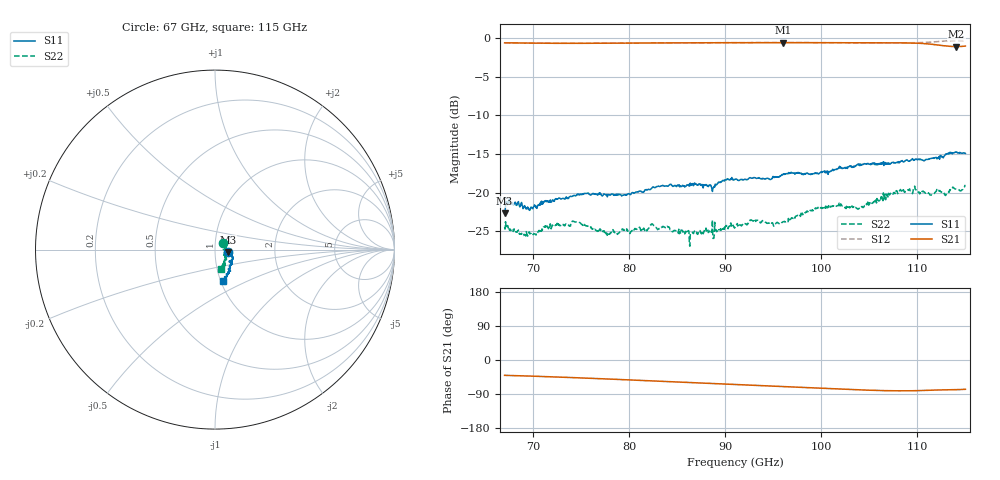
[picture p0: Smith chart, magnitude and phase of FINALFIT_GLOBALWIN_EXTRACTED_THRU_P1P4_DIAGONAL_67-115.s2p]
! Generated by Phase I extraction
# Hz S RI R 50
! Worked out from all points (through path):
!   1001 points, 67 GHz to 115 GHz, reference 50 ohm
!   highest |S21| = -0.59 dB at 96.04 GHz (marker M1); lowest = -1.1 dB at 114 GHz (marker M2)
!   group delay of S21, straight-line fit = 2.64 ps
!   lowest |S11| = -22.7 dB at 67 GHz (marker M3), VSWR 1.16, Z = 57.8 - j1.52 ohm
!   |S11| at or under -10 dB: start of sweep to end of sweep
!   |S22| runs from -26.9 to -19.1 dB; largest |S21 - S12| = 0.47
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6.7e10  0.0723 -0.013  0.7087 -0.6051  0.7102 -0.6022  0.045 0.0393
6.7384e10  0.0873 -0.0018  0.7056 -0.6077  0.7085 -0.6033  0.0402 0.0432
6.8968e10  0.079 -0.00911  0.6917 -0.6199  0.7026 -0.6068  0.0387 0.036
6.9688e10  0.0783 -0.00199  0.6847 -0.6262  0.7005 -0.6079  0.0411 0.0359
7.2328e10  0.0909 -0.00983  0.6569 -0.652  0.6941 -0.6124  0.0506 0.0355
7.5016e10  0.096 -0.0173  0.6273 -0.6803  0.6869 -0.6208  0.0513 0.0357
7.78e10  0.093 -0.0286  0.5937 -0.7118  0.6801 -0.6304  0.0494 0.0215
8.236e10  0.0991 -0.0417  0.5302 -0.764  0.6704 -0.6452  0.0615 0.0122
8.3032e10  0.0997 -0.047  0.5204 -0.7713  0.6686 -0.6477  0.057 0.0116
8.6488e10  0.0946 -0.0629  0.4687 -0.8056  0.6571 -0.6619  0.0548 0.000131
8.8648e10  0.0808 -0.0618  0.436 -0.8247  0.6491 -0.6711  0.0575 -0.0338
9.1e10  0.091 -0.0815  0.3999 -0.8438  0.6411 -0.6802  0.0572 -0.0169
9.2776e10  0.087 -0.0882  0.3718 -0.8571  0.6349 -0.6865  0.0622 -0.0221
9.604e10  0.085 -0.1009  0.3185 -0.8787  0.6225 -0.6978  0.0552 -0.0339
9.9016e10  0.0774 -0.1074  0.2675 -0.895  0.6112 -0.7069  0.0602 -0.0482
1.01848e11  0.0863 -0.1185  0.2172 -0.9075  0.6001 -0.7145  0.0646 -0.0558
1.03912e11  0.0751 -0.1303  0.1822 -0.9148  0.5912 -0.7206  0.0533 -0.0578
1.07032e11  0.0644 -0.1393  0.1452 -0.9209  0.5751 -0.7327  0.0533 -0.0823
1.09816e11  0.0631 -0.1526  0.1445 -0.9166  0.5573 -0.749  0.0512 -0.0911
1.12984e11  0.058 -0.1666  0.1717 -0.8722  0.5248 -0.8025  0.0401 -0.0892
1.1404e11  0.0496 -0.1753  0.1771 -0.8633  0.5123 -0.8182  0.039 -0.0981
1.15e11  0.047 -0.1731  0.1953 -0.8661  0.4877 -0.8286  0.0337 -0.1056
